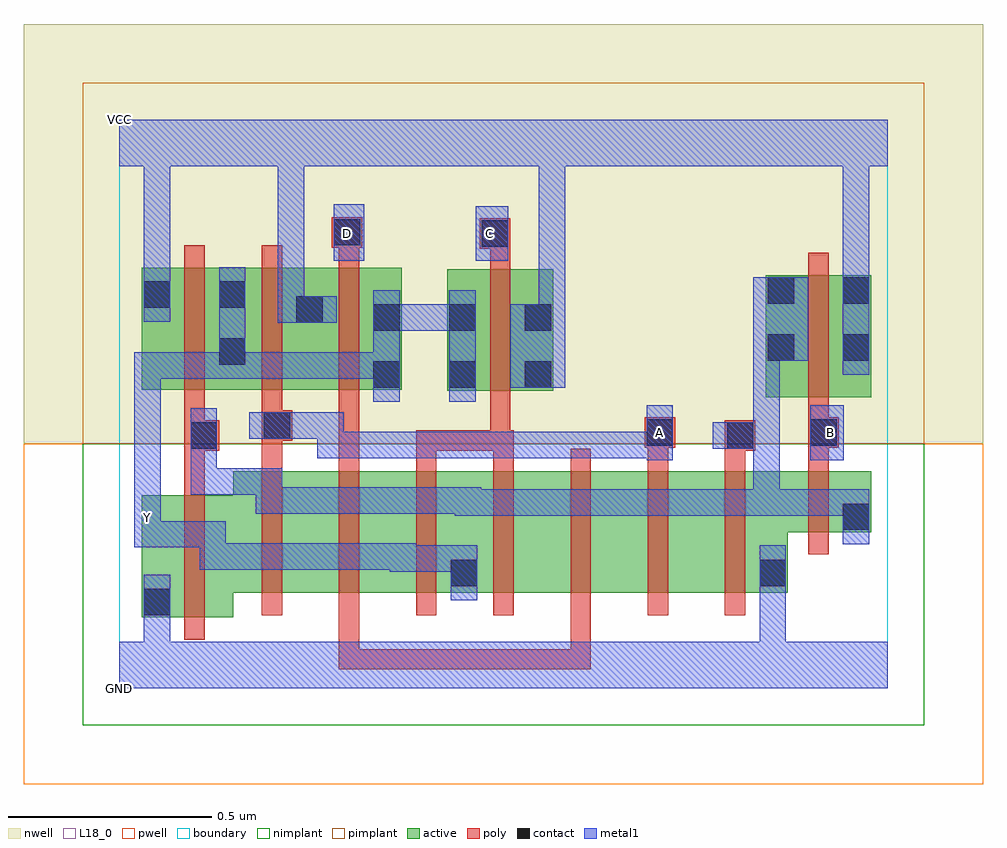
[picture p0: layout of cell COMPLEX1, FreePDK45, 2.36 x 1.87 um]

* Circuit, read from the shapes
.subckt COMPLEX1 A B C D GND VCC Y
M1 n1 n2 GND VSUBS nfet w=0.3u l=0.05u
M2 n3 A n1 VSUBS nfet w=0.3u l=0.05u
M3 n4 D n3 VSUBS nfet w=0.3u l=0.05u
M4 Y C n4 VSUBS nfet w=0.3u l=0.05u
M5 n5 C Y VSUBS nfet w=0.3u l=0.05u
M6 n6 D n5 VSUBS nfet w=0.3u l=0.05u
M7 n7 A n6 VSUBS nfet w=0.3u l=0.05u
M8 GND n2 n7 VSUBS nfet w=0.3u l=0.05u
M9 n2 B GND VSUBS nfet w=0.15u l=0.05u
M10 Y n2 VCC n8 pfet w=0.3u l=0.05u
M11 VCC A Y n8 pfet w=0.3u l=0.05u
M12 Y D VCC n8 pfet w=0.3u l=0.05u
M13 VCC C Y n8 pfet w=0.3u l=0.05u
M14 VCC B n2 n8 pfet w=0.3u l=0.05u
.ends

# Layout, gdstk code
import gdstk
lib = gdstk.Library(unit=1e-6, precision=1e-09)
def R(c, l, rs):  # rectangles x0, y0, x1, y1
    for r in rs: c.add(gdstk.rectangle(r[:2], r[2:], *l))
def A(c, l, x, y, w, h, nx, ny, dx, dy):  # array of equal rectangles
    R(c, l, [(x+i*dx, y+j*dy, x+i*dx+w, y+j*dy+h) for i in range(nx) for j in range(ny)])
active = (1, 0)
pwell = (2, 0)
nwell = (3, 0)
nimplant = (4, 0)
pimplant = (5, 0)
poly = (9, 0)
contact = (10, 0)
metal1 = (11, 0)
L18_0 = (18, 0)
boundary = (235, 0)

complex1 = lib.new_cell('COMPLEX1')
R(complex1, active, [(0.055,0.175,0.28,0.475), (0.055,0.175,0.13,0.475), (0.28,0.235,0.47,0.535), (0.47,0.235,0.66,0.535), (0.66,0.235,0.885,0.535), (0.81,0.235,1.04,0.535), (1.04,0.235,1.23,0.535), (1.23,0.235,1.42,0.535), (1.42,0.235,1.645,0.535), (0.81,0.247,0.885,0.517), (1.57,0.247,1.645,0.535), (1.57,0.385,1.85,0.535), (1.775,0.385,1.85,0.535), (1.59,0.717,1.665,1.017), (1.59,0.717,1.85,1.017), (1.775,0.717,1.85,1.017), (0.807,0.732,1.067,1.032), (0.807,0.732,0.882,0.967), (0.992,0.732,1.067,0.967), (0.055,0.735,0.13,1.035), (0.055,0.735,0.315,1.035), (0.24,0.735,0.505,1.035), (0.24,0.735,0.315,1.007), (0.43,0.735,0.505,1.035), (0.43,0.735,0.695,1.035), (0.62,0.735,0.695,0.957)])
R(complex1, pwell, [(-0.235,-0.235,2.125,0.602)])
R(complex1, nwell, [(-0.235,0.602,2.125,1.635)])
R(complex1, nimplant, [(-0.09,-0.09,1.98,0.602)])
R(complex1, pimplant, [(-0.09,0.602,1.98,1.49)])
A(complex1, poly, 0.35, 0.18, 0.05, 0.41, 7, 1, 0.19, 0)
A(complex1, poly, 0.16, 0.68, 0.05, 0.41, 3, 1, 0.19, 0)
R(complex1, poly, [(0.54,0.047,0.59,0.23), (0.54,0.047,0.59,0.097), (0.54,0.047,0.76,0.097), (0.71,0.047,0.76,0.097), (0.71,0.047,0.76,0.097), (0.71,0.047,0.76,0.097), (0.71,0.047,0.912,0.097), (0.862,0.047,0.912,0.097), (0.862,0.047,0.912,0.097), (0.862,0.047,0.912,0.097), (0.862,0.047,1.16,0.097), (1.11,0.047,1.16,0.23), (1.11,0.047,1.16,0.097), (1.11,0.047,1.16,0.097), (1.11,0.047,1.16,0.097), (0.16,0.12,0.21,0.53), (1.695,0.33,1.745,0.59), (0.16,0.48,0.21,0.635), (0.35,0.54,0.4,0.66), (0.54,0.54,0.59,0.685), (0.73,0.54,0.78,0.635), (0.92,0.54,0.97,0.635), (1.3,0.54,1.35,0.642), (1.49,0.54,1.54,0.635), (1.695,0.54,1.745,0.642), (0.16,0.585,0.245,0.66), (0.73,0.585,0.78,0.635), (0.73,0.585,0.962,0.635), (0.912,0.585,0.962,0.635), (0.912,0.585,0.962,0.635), (0.912,0.585,0.962,0.727), (0.912,0.585,0.97,0.635), (1.49,0.585,1.565,0.66), (1.292,0.592,1.367,0.667), (1.695,0.592,1.77,0.667), (0.16,0.61,0.21,0.73), (0.35,0.61,0.425,0.685), (1.695,0.617,1.745,0.712), (0.35,0.635,0.4,0.73), (0.54,0.635,0.59,0.73), (0.54,0.635,0.59,0.685), (1.695,0.662,1.745,1.072), (0.912,0.677,0.962,1.087), (0.912,1.037,0.962,1.132), (0.54,1.04,0.59,1.135), (0.887,1.082,0.962,1.157), (0.522,1.085,0.597,1.16)])
R(complex1, contact, [(0.06,0.18,0.125,0.245), (0.815,0.252,0.88,0.317), (1.575,0.252,1.64,0.317), (1.78,0.39,1.845,0.455), (0.175,0.59,0.24,0.655), (1.495,0.59,1.56,0.655), (1.297,0.597,1.362,0.662), (1.7,0.597,1.765,0.662), (0.355,0.615,0.42,0.68), (0.625,0.74,0.69,0.805), (0.812,0.74,0.877,0.805), (0.997,0.74,1.062,0.805), (0.245,0.797,0.31,0.862), (1.595,0.807,1.66,0.872), (1.78,0.807,1.845,0.872), (0.625,0.88,0.69,0.945), (0.812,0.88,0.877,0.945), (0.997,0.88,1.062,0.945), (0.435,0.9,0.5,0.965), (0.06,0.937,0.125,1.002), (0.245,0.937,0.31,1.002), (1.595,0.947,1.66,1.012), (1.78,0.947,1.845,1.012), (0.892,1.087,0.957,1.152), (0.527,1.09,0.592,1.155)])
R(complex1, metal1, [(0,0,1.89,0.115), (0.06,0.05,0.125,0.115), (0.06,0.05,0.125,0.115), (0.06,0.05,0.125,0.21), (1.575,0.05,1.64,0.115), (1.575,0.05,1.64,0.115), (1.575,0.05,1.64,0.282), (0.06,0.145,0.125,0.28), (0.815,0.217,0.88,0.352), (1.575,0.217,1.64,0.352), (0.665,0.287,0.73,0.352), (0.665,0.287,0.73,0.352), (0.665,0.287,0.88,0.352), (0.665,0.287,0.73,0.357), (0.197,0.292,0.455,0.357), (0.197,0.292,0.262,0.412), (0.39,0.292,0.455,0.357), (0.39,0.292,0.455,0.357), (0.39,0.292,0.455,0.357), (0.39,0.292,0.592,0.357), (0.527,0.292,0.592,0.357), (0.527,0.292,0.73,0.357), (0.037,0.347,0.262,0.412), (0.037,0.347,0.102,0.417), (0.037,0.352,0.102,0.417), (0.037,0.352,0.102,0.417), (0.037,0.352,0.102,0.417), (0.037,0.352,0.102,0.417), (0.037,0.352,0.102,0.417), (0.037,0.352,0.102,0.487), (1.78,0.355,1.845,0.49), (0.037,0.422,0.102,0.827), (0.825,0.425,1.027,0.49), (0.825,0.425,0.89,0.495), (0.962,0.425,1.027,0.49), (0.962,0.425,1.027,0.49), (0.962,0.425,1.027,0.49), (0.962,0.425,1.225,0.49), (1.16,0.425,1.225,0.49), (1.16,0.425,1.225,0.49), (1.16,0.425,1.225,0.49), (1.16,0.425,1.362,0.49), (1.297,0.425,1.362,0.49), (1.297,0.425,1.362,0.49), (1.297,0.425,1.362,0.49), (1.297,0.425,1.625,0.49), (1.56,0.425,1.625,0.49), (1.56,0.425,1.625,0.49), (1.56,0.425,1.625,0.49), (1.56,0.425,1.845,0.49), (1.56,0.425,1.625,0.655), (1.78,0.425,1.845,0.49), (1.78,0.425,1.845,0.49), (0.335,0.43,0.552,0.495), (0.335,0.43,0.4,0.542), (0.487,0.43,0.552,0.495), (0.487,0.43,0.592,0.495), (0.527,0.43,0.592,0.495), (0.527,0.43,0.73,0.495), (0.665,0.43,0.73,0.495), (0.665,0.43,0.73,0.495), (0.665,0.43,0.73,0.495), (0.665,0.43,0.89,0.495), (0.175,0.477,0.24,0.542), (0.175,0.477,0.4,0.542), (0.175,0.477,0.24,0.62), (0.175,0.555,0.24,0.62), (0.175,0.555,0.24,0.62), (0.175,0.555,0.24,0.69), (1.297,0.562,1.362,0.697), (1.7,0.562,1.782,0.697), (0.487,0.567,0.592,0.632), (0.487,0.567,0.552,0.68), (0.527,0.567,0.592,0.632), (0.527,0.567,0.74,0.632), (0.675,0.567,0.74,0.632), (0.675,0.567,0.74,0.632), (0.675,0.567,0.74,0.632), (0.675,0.567,0.89,0.632), (0.825,0.567,0.89,0.632), (0.825,0.567,0.89,0.632), (0.825,0.567,0.89,0.632), (0.825,0.567,1.027,0.632), (0.962,0.567,1.027,0.632), (0.962,0.567,1.165,0.632), (1.1,0.567,1.165,0.632), (1.1,0.567,1.165,0.632), (1.1,0.567,1.165,0.632), (1.1,0.567,1.362,0.632), (1.46,0.59,1.595,0.655), (1.53,0.59,1.625,0.655), (1.56,0.59,1.625,0.655), (1.56,0.59,1.625,0.872), (0.32,0.615,0.455,0.68), (0.39,0.615,0.552,0.68), (0.625,0.705,0.69,0.98), (0.812,0.705,0.877,0.98), (0.962,0.74,1.097,0.945), (0.037,0.762,0.102,0.827), (0.037,0.762,0.102,0.827), (0.037,0.762,0.102,0.827), (0.037,0.762,0.31,0.827), (0.245,0.762,0.31,1.037), (0.245,0.762,0.455,0.827), (0.39,0.762,0.455,0.827), (0.39,0.762,0.455,0.827), (0.39,0.762,0.455,0.827), (0.39,0.762,0.592,0.827), (0.527,0.762,0.592,0.827), (0.527,0.762,0.69,0.827), (1.78,0.772,1.845,1.047), (1.56,0.807,1.695,1.012), (0.625,0.88,0.752,0.945), (0.687,0.88,0.752,0.945), (0.687,0.88,0.877,0.945), (1.032,0.88,1.097,0.945), (1.032,0.88,1.097,0.945), (1.032,0.88,1.097,0.945), (1.032,0.88,1.097,0.945), (1.032,0.88,1.097,1.35), (0.39,0.9,0.455,1.35), (0.39,0.9,0.535,0.965), (0.06,0.902,0.125,1.037), (0.06,0.972,0.125,1.037), (0.06,0.972,0.125,1.037), (0.06,0.972,0.125,1.037), (0.06,0.972,0.125,1.037), (0.06,0.972,0.125,1.35), (1.78,0.982,1.845,1.047), (1.78,0.982,1.845,1.047), (1.78,0.982,1.845,1.047), (1.78,0.982,1.845,1.047), (1.78,0.982,1.845,1.35), (0.527,1.052,0.602,1.192), (0.877,1.052,0.957,1.187), (0,1.285,1.89,1.4), (0.39,1.285,0.455,1.35), (0.39,1.285,0.455,1.35), (0.39,1.285,0.455,1.35), (0.39,1.285,0.455,1.35)])
R(complex1, L18_0, [(0,0,1.89,0.115), (0.06,0.05,0.125,0.115), (0.06,0.05,0.125,0.115), (0.06,0.05,0.125,0.21), (1.575,0.05,1.64,0.115), (1.575,0.05,1.64,0.115), (1.575,0.05,1.64,0.282), (0.06,0.145,0.125,0.28), (0.815,0.217,0.88,0.352), (1.575,0.217,1.64,0.352), (0.665,0.287,0.73,0.352), (0.665,0.287,0.73,0.352), (0.665,0.287,0.73,0.357), (0.665,0.287,0.88,0.352), (0.197,0.292,0.262,0.412), (0.197,0.292,0.455,0.357), (0.39,0.292,0.455,0.357), (0.39,0.292,0.455,0.357), (0.39,0.292,0.455,0.357), (0.39,0.292,0.592,0.357), (0.527,0.292,0.592,0.357), (0.527,0.292,0.73,0.357), (0.037,0.347,0.102,0.417), (0.037,0.347,0.262,0.412), (0.037,0.352,0.102,0.417), (0.037,0.352,0.102,0.417), (0.037,0.352,0.102,0.417), (0.037,0.352,0.102,0.417), (0.037,0.352,0.102,0.417), (0.037,0.352,0.102,0.487), (0.037,0.387,0.102,0.452), (0.037,0.422,0.102,0.827), (1.297,0.562,1.362,0.697), (1.7,0.562,1.782,0.697), (0.487,0.567,0.552,0.68), (0.487,0.567,0.592,0.632), (0.527,0.567,0.592,0.632), (0.527,0.567,0.74,0.632), (0.675,0.567,0.74,0.632), (0.675,0.567,0.74,0.632), (0.675,0.567,0.74,0.632), (0.675,0.567,0.89,0.632), (0.825,0.567,0.89,0.632), (0.825,0.567,0.89,0.632), (0.825,0.567,0.89,0.632), (0.825,0.567,1.027,0.632), (0.962,0.567,1.027,0.632), (0.962,0.567,1.165,0.632), (1.1,0.567,1.165,0.632), (1.1,0.567,1.165,0.632), (1.1,0.567,1.165,0.632), (1.1,0.567,1.362,0.632), (1.297,0.597,1.362,0.662), (1.717,0.597,1.782,0.662), (0.32,0.615,0.455,0.68), (0.39,0.615,0.552,0.68), (0.625,0.705,0.69,0.98), (0.812,0.705,0.877,0.98), (0.962,0.74,1.097,0.945), (0.037,0.762,0.102,0.827), (0.037,0.762,0.102,0.827), (0.037,0.762,0.102,0.827), (0.037,0.762,0.31,0.827), (0.245,0.762,0.31,1.037), (0.245,0.762,0.455,0.827), (0.39,0.762,0.455,0.827), (0.39,0.762,0.455,0.827), (0.39,0.762,0.455,0.827), (0.39,0.762,0.592,0.827), (0.527,0.762,0.592,0.827), (0.527,0.762,0.69,0.827), (1.78,0.772,1.845,1.047), (0.625,0.88,0.752,0.945), (0.687,0.88,0.752,0.945), (0.687,0.88,0.877,0.945), (1.032,0.88,1.097,0.945), (1.032,0.88,1.097,0.945), (1.032,0.88,1.097,0.945), (1.032,0.88,1.097,0.945), (1.032,0.88,1.097,1.35), (0.39,0.9,0.535,0.965), (0.39,0.9,0.455,1.35), (0.06,0.902,0.125,1.037), (0.06,0.972,0.125,1.037), (0.06,0.972,0.125,1.037), (0.06,0.972,0.125,1.037), (0.06,0.972,0.125,1.037), (0.06,0.972,0.125,1.35), (1.78,0.982,1.845,1.047), (1.78,0.982,1.845,1.047), (1.78,0.982,1.845,1.047), (1.78,0.982,1.845,1.047), (1.78,0.982,1.845,1.35), (0.527,1.052,0.602,1.192), (0.877,1.052,0.957,1.187), (0.527,1.087,0.592,1.152), (0.877,1.087,0.942,1.152), (0,1.285,1.89,1.4), (0.39,1.285,0.455,1.35), (0.39,1.285,0.455,1.35), (0.39,1.285,0.455,1.35), (0.39,1.285,0.455,1.35)])
R(complex1, boundary, [(0,0,1.89,1.4)])
complex1.add(gdstk.Label('A', (1.33,0.63), layer=11, texttype=0))
complex1.add(gdstk.Label('B', (1.75,0.63), layer=11, texttype=0))
complex1.add(gdstk.Label('C', (0.91,1.12), layer=11, texttype=0))
complex1.add(gdstk.Label('D', (0.56,1.12), layer=11, texttype=0))
complex1.add(gdstk.Label('Y', (0.07,0.42), layer=11, texttype=0))
complex1.add(gdstk.Label('VCC', (0,1.4), layer=11, texttype=0))
complex1.add(gdstk.Label('GND', (0,0), layer=11, texttype=0))

lib.write_gds('COMPLEX1.gds')
